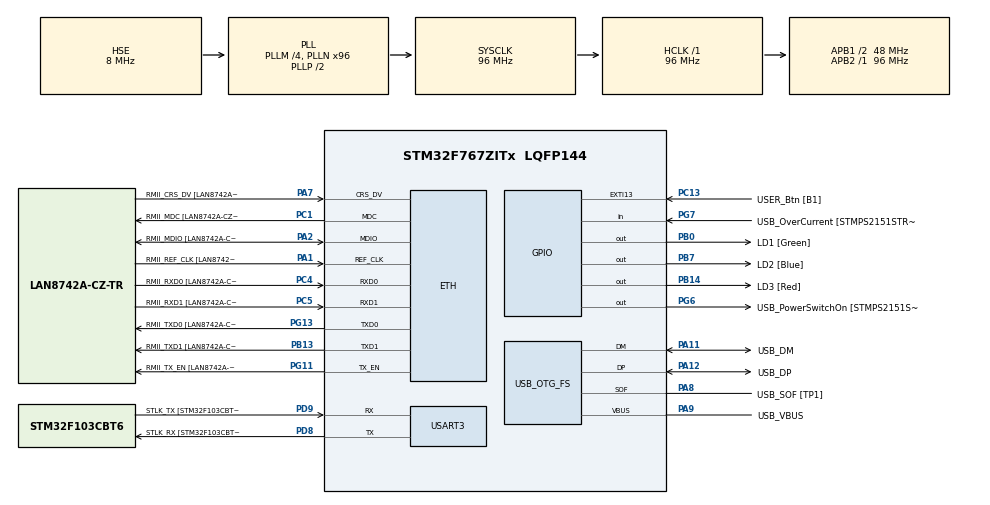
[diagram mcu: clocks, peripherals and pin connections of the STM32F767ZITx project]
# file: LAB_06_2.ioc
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ETH.MediaInterface=HAL_ETH_RMII_MODE
ETH.PHY_Name=LAN8742A_PHY_ADDRESS
ETH.PHY_Value=0
ETH.PhyAddress=0
Mcu.Family=STM32F7
Mcu.Name=STM32F767ZITx
Mcu.Package=LQFP144
NVIC.PriorityGroup=NVIC_PRIORITYGROUP_4
PA1.GPIO_Label=RMII_REF_CLK [LAN8742A-CZ-TR_REFCLK0]
PA1.Mode=RMII
PA1.Signal=ETH_REF_CLK
PA10.GPIO_Label=USB_ID
PA10.Signal=USB_OTG_FS_ID
PA11.GPIO_Label=USB_DM
PA11.Mode=Device_Only
PA11.Signal=USB_OTG_FS_DM
PA12.GPIO_Label=USB_DP
PA12.Mode=Device_Only
PA12.Signal=USB_OTG_FS_DP
PA13.GPIO_Label=TMS
PA13.Mode=Serial_Wire
PA13.Signal=SYS_JTMS-SWDIO
PA14.GPIO_Label=TCK
PA14.Mode=Serial_Wire
PA14.Signal=SYS_JTCK-SWCLK
PA2.GPIO_Label=RMII_MDIO [LAN8742A-CZ-TR_MDIO]
PA2.Mode=RMII
PA2.Signal=ETH_MDIO
PA7.GPIO_Label=RMII_CRS_DV [LAN8742A-CZ-TR_CRS_DV]
PA7.Mode=RMII
PA7.Signal=ETH_CRS_DV
PA8.GPIO_Label=USB_SOF [TP1]
PA8.Mode=Activate_SOF_FS
PA8.Signal=USB_OTG_FS_SOF
PA9.GPIO_Label=USB_VBUS
PA9.Mode=Activate_VBUS
PA9.Signal=USB_OTG_FS_VBUS
PB0.GPIO_Label=LD1 [Green]
PB0.Signal=GPIO_Output
PB13.GPIO_Label=RMII_TXD1 [LAN8742A-CZ-TR_TXD1]
PB13.Mode=RMII
PB13.Signal=ETH_TXD1
PB14.GPIO_Label=LD3 [Red]
PB14.Signal=GPIO_Output
PB3.GPIO_Label=SWO
PB3.Signal=SYS_JTDO-SWO
PB7.GPIO_Label=LD2 [Blue]
PB7.Signal=GPIO_Output
PC1.GPIO_Label=RMII_MDC [LAN8742A-CZ-TR_MDC]
PC1.Mode=RMII
PC1.Signal=ETH_MDC
PC13.GPIO_Label=USER_Btn [B1]
PC13.Signal=GPXTI13
PC14/OSC32_IN.Mode=LSE-External-Oscillator
PC14/OSC32_IN.Signal=RCC_OSC32_IN
PC15/OSC32_OUT.Mode=LSE-External-Oscillator
PC15/OSC32_OUT.Signal=RCC_OSC32_OUT
PC4.GPIO_Label=RMII_RXD0 [LAN8742A-CZ-TR_RXD0]
PC4.Mode=RMII
PC4.Signal=ETH_RXD0
PC5.GPIO_Label=RMII_RXD1 [LAN8742A-CZ-TR_RXD1]
PC5.Mode=RMII
PC5.Signal=ETH_RXD1
PD8.GPIO_Label=STLK_RX [STM32F103CBT6_PA3]
PD8.Mode=Asynchronous
PD8.Signal=USART3_TX
PD9.GPIO_Label=STLK_TX [STM32F103CBT6_PA2]
PD9.Mode=Asynchronous
PD9.Signal=USART3_RX
PG11.GPIO_Label=RMII_TX_EN [LAN8742A-CZ-TR_TXEN]
PG11.Mode=RMII
PG11.Signal=ETH_TX_EN
PG13.GPIO_Label=RMII_TXD0 [LAN8742A-CZ-TR_TXD0]
PG13.Mode=RMII
PG13.Signal=ETH_TXD0
PG6.GPIO_Label=USB_PowerSwitchOn [STMPS2151STR_EN]
PG6.Signal=GPIO_Output
PG7.GPIO_Label=USB_OverCurrent [STMPS2151STR_FAULT]
PG7.Signal=GPIO_Input
PH0/OSC_IN.GPIO_Label=MCO [STM32F103CBT6_PA8]
PH0/OSC_IN.Mode=HSE-External-Clock-Source
PH0/OSC_IN.Signal=RCC_OSC_IN
PH1/OSC_OUT.Mode=HSE-External-Clock-Source
PH1/OSC_OUT.Signal=RCC_OSC_OUT
ProjectManager.HeapSize=0x200
ProjectManager.StackSize=0x400
ProjectManager.TargetToolchain=STM32CubeIDE
RCC.48MHZClocksFreq_Value=24000000
RCC.AHBFreq_Value=96000000
RCC.APB1CLKDivider=RCC_HCLK_DIV2
RCC.APB1Freq_Value=48000000
RCC.APB1TimFreq_Value=96000000
RCC.APB2Freq_Value=96000000
RCC.APB2TimFreq_Value=96000000
RCC.CortexFreq_Value=96000000
RCC.HCLKFreq_Value=96000000
RCC.HSE_VALUE=8000000
RCC.HSI_VALUE=16000000
RCC.PLLM=4
RCC.PLLMUL=RCC_PLL_MUL9
RCC.PLLN=96
RCC.PLLQ=4
RCC.PRESCALERUSB=RCC_USBCLKSOURCE_PLL_DIV1_5
RCC.SYSCLKFreq_VALUE=96000000
RCC.SYSCLKSource=RCC_SYSCLKSOURCE_PLLCLK
RCC.SYSCLKSourceVirtual=RCC_SYSCLKSOURCE_PLLCLK
RCC.USBFreq_Value=48000000
RCC.VCOOutputFreq_Value=192000000
USART3.VirtualMode-Asynchronous=VM_ASYNC
USB_OTG_FS.VirtualMode=Device_Only
board=NUCLEO-F767ZI

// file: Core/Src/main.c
/* USER CODE BEGIN Header */
/**
 ******************************************************************************
 * @file           : main.c
 * @brief          : Main program body
 ******************************************************************************
 * @attention
 *
 * Copyright (c) 2025 STMicroelectronics.
 * All rights reserved.
 *
 * This software is licensed under terms that can be found in the LICENSE file
 * in the root directory of this software component.
 * If no LICENSE file comes with this software, it is provided AS-IS.
 *
 ******************************************************************************
 */
/* USER CODE END Header */
#include "main.h"
#include "string.h"

/* USER CODE BEGIN Includes */

#include <stdio.h>
#include <stdbool.h>

/* USER CODE END Includes */

#if defined ( __ICCARM__ ) /*!< IAR Compiler */
#pragma location=0x2007c000
ETH_DMADescTypeDef  DMARxDscrTab[ETH_RX_DESC_CNT]; /* Ethernet Rx DMA Descriptors */
#pragma location=0x2007c0a0
ETH_DMADescTypeDef  DMATxDscrTab[ETH_TX_DESC_CNT]; /* Ethernet Tx DMA Descriptors */

#elif defined ( __CC_ARM )  /* MDK ARM Compiler */

__attribute__((at(0x2007c000))) ETH_DMADescTypeDef  DMARxDscrTab[ETH_RX_DESC_CNT]; /* Ethernet Rx DMA Descriptors */
__attribute__((at(0x2007c0a0))) ETH_DMADescTypeDef  DMATxDscrTab[ETH_TX_DESC_CNT]; /* Ethernet Tx DMA Descriptors */

#elif defined ( __GNUC__ ) /* GNU Compiler */

ETH_DMADescTypeDef DMARxDscrTab[ETH_RX_DESC_CNT] __attribute__((section(".RxDecripSection"))); /* Ethernet Rx DMA Descriptors */
ETH_DMADescTypeDef DMATxDscrTab[ETH_TX_DESC_CNT] __attribute__((section(".TxDecripSection"))); /* Ethernet Tx DMA Descriptors */
#endif

ETH_TxPacketConfig TxConfig;

ETH_HandleTypeDef heth;

UART_HandleTypeDef huart3;

PCD_HandleTypeDef hpcd_USB_OTG_FS;

void SystemClock_Config(void);
static void MX_GPIO_Init(void);
static void MX_ETH_Init(void);
static void MX_USART3_UART_Init(void);
static void MX_USB_OTG_FS_PCD_Init(void);

/* USER CODE BEGIN 0 */

#define BMP2_SPI_BUFFER_LEN 28
#define BMP2_DATA_INDEX 1
#define BMP2_REG_ADDR_INDEX 0
#define BMP2_REG_ADDR_LEN 1

#define BMP2_TIMEOUT 100
#define BMP2_NUM_OF_SENSORS 1

/* wskaznik SPI */
#define BMP2_SPI (&hspi4)

GPIO_TypeDef *BMP2_CS_Ports[BMP2_NUM_OF_SENSORS] = { GPIOE };
uint16_t BMP2_CS_Pins[BMP2_NUM_OF_SENSORS] = { GPIO_PIN_4 };

extern SPI_HandleTypeDef hspi4;
extern UART_HandleTypeDef huart3;

/* ----------------- BMP280 ADRESY REJESTRÓW ----------------- */
#define BMP280_ADDR_ID         0xD0
#define BMP280_ADDR_RESET      0xE0
#define BMP280_ADDR_STATUS     0xF3
#define BMP280_ADDR_CTRL_MEAS  0xF4
#define BMP280_ADDR_CONFIG     0xF5

#define BMP280_RESET_VALUE     0xB6
#define BMP280_ID_VALUE        0x58

/* temperatury */
#define BMP280_ADDR_TEMP_MSB  0xFA
#define BMP280_ADDR_TEMP_LSB  0xFB
#define BMP280_ADDR_TEMP_XLSB 0xFC

/* cisnienie */
#define BMP280_ADDR_PRESS_MSB  0xF7
#define BMP280_ADDR_PRESS_LSB  0xF8
#define BMP280_ADDR_PRESS_XLSB 0xF9

uint16_t dig_T1;
int16_t dig_T2, dig_T3;

uint16_t dig_P1;
int16_t dig_P2, dig_P3, dig_P4, dig_P5, dig_P6, dig_P7, dig_P8, dig_P9;

int32_t t_fine;

int8_t bmp2_spi_write(uint8_t reg_addr, const uint8_t *reg_data, uint32_t length, void *intf_ptr) {
	HAL_StatusTypeDef status = HAL_OK;
	int8_t iError = 0;
	uint8_t cs = *(uint8_t*) intf_ptr;

	/* CS LOW – wybór slave */
	HAL_GPIO_WritePin(BMP2_CS_Ports[cs], BMP2_CS_Pins[cs], GPIO_PIN_RESET);

	/* zapis adresu rejestru */
	status = HAL_SPI_Transmit(BMP2_SPI, &reg_addr, BMP2_REG_ADDR_LEN, BMP2_TIMEOUT);
	/* zapis danych */
	status |= HAL_SPI_Transmit(BMP2_SPI, (uint8_t*) reg_data, length, BMP2_TIMEOUT);

	/* CS HIGH – koniec transmisji */
	HAL_GPIO_WritePin(BMP2_CS_Ports[cs], BMP2_CS_Pins[cs], GPIO_PIN_SET);

	if (status != HAL_OK)
		iError = -1;

	return iError;
}

int8_t bmp2_spi_read(uint8_t reg_addr, uint8_t *reg_data, uint32_t length, void *intf_ptr) {
	HAL_StatusTypeDef status = HAL_OK;
	int8_t iError = 0;
	uint8_t cs = *(uint8_t*) intf_ptr;

	/* adres rejestru OR | 0x80 dla odczytu */
	reg_addr |= 0x80;

	/* CS LOW */
	HAL_GPIO_WritePin(BMP2_CS_Ports[cs], BMP2_CS_Pins[cs], GPIO_PIN_RESET);

	/* wysyłamy adres rejestru */
	status = HAL_SPI_Transmit(BMP2_SPI, &reg_addr, BMP2_REG_ADDR_LEN, BMP2_TIMEOUT);
	/* odbieramy dane */
	status |= HAL_SPI_Receive(BMP2_SPI, reg_data, length, BMP2_TIMEOUT);

	/* CS HIGH */
	HAL_GPIO_WritePin(BMP2_CS_Ports[cs], BMP2_CS_Pins[cs], GPIO_PIN_SET);

	if (status != HAL_OK)
		iError = -1;

	return iError;
}

uint8_t sensor_index = 0;  // jeden sensor

void BMP_Write(uint8_t reg, uint8_t val) {
	bmp2_spi_write(reg, &val, 1, &sensor_index);
}

void BMP_Read(uint8_t reg, uint8_t *buf, uint8_t len) {
	bmp2_spi_read(reg, buf, len, &sensor_index);
}

_Bool BMP280_IsDetected() {
	uint8_t id = 0;
	BMP_Read(BMP280_ADDR_ID, &id, 1);
	return id == BMP280_ID_VALUE;
}

void BMP280_ReadCalibration() {
	uint8_t calib[24];
	BMP_Read(0x88, calib, 24);

	dig_T1 = (uint16_t) (calib[1] << 8 | calib[0]);
	dig_T2 = (int16_t) (calib[3] << 8 | calib[2]);
	dig_T3 = (int16_t) (calib[5] << 8 | calib[4]);

	dig_P1 = (uint16_t) (calib[7] << 8 | calib[6]);
	dig_P2 = (int16_t) (calib[9] << 8 | calib[8]);
	dig_P3 = (int16_t) (calib[11] << 8 | calib[10]);
	dig_P4 = (int16_t) (calib[13] << 8 | calib[12]);
	dig_P5 = (int16_t) (calib[15] << 8 | calib[14]);
	dig_P6 = (int16_t) (calib[17] << 8 | calib[16]);
	dig_P7 = (int16_t) (calib[19] << 8 | calib[18]);
	dig_P8 = (int16_t) (calib[21] << 8 | calib[20]);
	dig_P9 = (int16_t) (calib[23] << 8 | calib[22]);
}

void BMP280_Init() {
	if (!BMP280_IsDetected()) {
		char msg[] = "Czujnik niewykryty!\r\n";
		HAL_UART_Transmit(&huart3, (uint8_t*) msg, strlen(msg), 100);
		return;
	}

	BMP_Write(BMP280_ADDR_RESET, BMP280_RESET_VALUE);
	HAL_Delay(10);

	BMP_Write(BMP280_ADDR_CONFIG, 0x00);        // filtry OFF
	BMP_Write(BMP280_ADDR_CTRL_MEAS, 0x27);     // oversampling x1 + normal mode
}

/* odczyt raw temperatury */
int32_t BMP280_ReadRawTemperature() {
	uint8_t d[3];
	BMP_Read(BMP280_ADDR_TEMP_MSB, d, 3);
	return ((int32_t) d[0] << 12) | ((int32_t) d[1] << 4) | (d[2] >> 4);
}

/* odczyt raw cisnienia */
int32_t BMP280_ReadRawPressure() {
	uint8_t d[3];
	BMP_Read(BMP280_ADDR_PRESS_MSB, d, 3);
	return ((int32_t) d[0] << 12) | ((int32_t) d[1] << 4) | (d[2] >> 4);
}

/* przeliczanie temperatury */
float BMP280_CalcTemperature(int32_t adc_T) {
	int32_t var1, var2;
	var1 = ((((adc_T >> 3) - ((int32_t) dig_T1 << 1))) * dig_T2) >> 11;
	var2 = (((((adc_T >> 4) - dig_T1) * ((adc_T >> 4) - dig_T1)) >> 12) * dig_T3) >> 14;
	t_fine = var1 + var2;
	return ((t_fine * 5 + 128) >> 8) / 100.0f;
}

/* przeliczanie cisnienia */
int32_t BMP280_CalcPressure(int32_t adc_P) {
	int64_t var1, var2, p;

	var1 = ((int64_t) t_fine) - 128000;
	var2 = var1 * var1 * (int64_t) dig_P6;
	var2 += (var1 * dig_P5) << 17;
	var2 += ((int64_t) dig_P4) << 35;

	var1 = (var1 * var1 * dig_P3) >> 8;
	var1 += (var1 * dig_P2) << 12;
	var1 = (((((int64_t) 1) << 47) + var1) * dig_P1) >> 33;

	if (var1 == 0)
		return 0;

	p = 1048576 - adc_P;
	p = (((p << 31) - var2) * 3125) / var1;

	var1 = ((int64_t) dig_P9 * (p >> 13) * (p >> 13)) >> 25;
	var2 = ((int64_t) dig_P8 * p) >> 19;

	p = ((p + var1 + var2) >> 8) + ((int64_t) dig_P7 << 4);

	return (int32_t) p;
}

void SetPWM(TIM_HandleTypeDef *htim, uint32_t channel, float duty) {
	if (duty < 0)
		duty = 0;
	if (duty > 100)
		duty = 100;

	uint32_t ARR = __HAL_TIM_GET_AUTORELOAD(htim);
	uint32_t cmp = (uint32_t) ((duty / 100.0f) * (ARR + 1));
	__HAL_TIM_SET_COMPARE(htim, channel, cmp);
}

extern TIM_HandleTypeDef htim2;
extern TIM_HandleTypeDef htim3;

void HAL_TIM_PeriodElapsedCallback(TIM_HandleTypeDef *htim) {
	/* 1 Hz – temp/CSV/UART */
	if (htim->Instance == TIM2) {
		int32_t rt = BMP280_ReadRawTemperature();
		float tempC = BMP280_CalcTemperature(rt);

		char buf[64];
		sprintf(buf, "TEMP=%.2f C\r\n", tempC);
		HAL_UART_Transmit(&huart3, (uint8_t*) buf, strlen(buf), 10);
	}

	/* 4 Hz – temp + pressure */
	if (htim->Instance == TIM3) {
		int32_t rt = BMP280_ReadRawTemperature();
		int32_t rp = BMP280_ReadRawPressure();

		int32_t temp100 = (int32_t) (BMP280_CalcTemperature(rt) * 100);
		int32_t press = BMP280_CalcPressure(rp);

		char buf[80];
		sprintf(buf, "T=%ld cC  P=%ld Pa\r\n", temp100, press);
		HAL_UART_Transmit(&huart3, (uint8_t*) buf, strlen(buf), 10);
	}
}

/* ------------------- UART RX = sterowanie PWM ------------------- */
uint8_t rxBuf[4];

void HAL_UART_RxCpltCallback(UART_HandleTypeDef *huart) {
	int pwm = atoi((char*) rxBuf);
	SetPWM(&htim4, TIM_CHANNEL_1, pwm);

	HAL_UART_Receive_IT(&huart3, rxBuf, 4);
}

/* USER CODE END 0 */

int main(void) {

	/* MCU Configuration--------------------------------------------------------*/

	/* Reset of all peripherals, Initializes the Flash interface and the Systick. */
	HAL_Init();

	/* Configure the system clock */
	SystemClock_Config();

	/* Initialize all configured peripherals */
	MX_GPIO_Init();
	MX_ETH_Init();
	MX_USART3_UART_Init();
	MX_USB_OTG_FS_PCD_Init();
	/* USER CODE BEGIN 2 */

	/* inicjalizacja sensora */
	BMP280_Init();
	BMP280_ReadCalibration();

	/* start timerów */
	HAL_TIM_Base_Start_IT(&htim2);
	HAL_TIM_Base_Start_IT(&htim3);

	/* PWM */
	HAL_TIM_PWM_Start(&htim4, TIM_CHANNEL_1);
	SetPWM(&htim4, TIM_CHANNEL_1, 0);

	/* UART RX */
	HAL_UART_Receive_IT(&huart3, rxBuf, 4);

	/* USER CODE END 2 */

	/* Infinite loop */
	/* USER CODE BEGIN WHILE */
	while (1) {

		HAL_Delay(10);
		/* USER CODE END WHILE */

	}
}

void SystemClock_Config(void) {
	RCC_OscInitTypeDef RCC_OscInitStruct = { 0 };
	RCC_ClkInitTypeDef RCC_ClkInitStruct = { 0 };

	/** Configure LSE Drive Capability
	 */
	HAL_PWR_EnableBkUpAccess();

	/** Configure the main internal regulator output voltage
	 */
	__HAL_RCC_PWR_CLK_ENABLE();
	__HAL_PWR_VOLTAGESCALING_CONFIG(PWR_REGULATOR_VOLTAGE_SCALE3);

	/** Initializes the RCC Oscillators according to the specified parameters
	 * in the RCC_OscInitTypeDef structure.
	 */
	RCC_OscInitStruct.OscillatorType = RCC_OSCILLATORTYPE_HSE;
	RCC_OscInitStruct.HSEState = RCC_HSE_BYPASS;
	RCC_OscInitStruct.PLL.PLLState = RCC_PLL_ON;
	RCC_OscInitStruct.PLL.PLLSource = RCC_PLLSOURCE_HSE;
	RCC_OscInitStruct.PLL.PLLM = 4;
	RCC_OscInitStruct.PLL.PLLN = 96;
	RCC_OscInitStruct.PLL.PLLP = RCC_PLLP_DIV2;
	RCC_OscInitStruct.PLL.PLLQ = 4;
	RCC_OscInitStruct.PLL.PLLR = 2;
	if (HAL_RCC_OscConfig(&RCC_OscInitStruct) != HAL_OK) {
		Error_Handler();
	}

	/** Activate the Over-Drive mode
	 */
	if (HAL_PWREx_EnableOverDrive() != HAL_OK) {
		Error_Handler();
	}

	/** Initializes the CPU, AHB and APB buses clocks
	 */
	RCC_ClkInitStruct.ClockType = RCC_CLOCKTYPE_HCLK | RCC_CLOCKTYPE_SYSCLK | RCC_CLOCKTYPE_PCLK1 | RCC_CLOCKTYPE_PCLK2;
	RCC_ClkInitStruct.SYSCLKSource = RCC_SYSCLKSOURCE_PLLCLK;
	RCC_ClkInitStruct.AHBCLKDivider = RCC_SYSCLK_DIV1;
	RCC_ClkInitStruct.APB1CLKDivider = RCC_HCLK_DIV2;
	RCC_ClkInitStruct.APB2CLKDivider = RCC_HCLK_DIV1;

	if (HAL_RCC_ClockConfig(&RCC_ClkInitStruct, FLASH_LATENCY_3) != HAL_OK) {
		Error_Handler();
	}
}

static void MX_ETH_Init(void) {

	static uint8_t MACAddr[6];

	heth.Instance = ETH;
	MACAddr[0] = 0x00;
	MACAddr[1] = 0x80;
	MACAddr[2] = 0xE1;
	MACAddr[3] = 0x00;
	MACAddr[4] = 0x00;
	MACAddr[5] = 0x00;
	heth.Init.MACAddr = &MACAddr[0];
	heth.Init.MediaInterface = HAL_ETH_RMII_MODE;
	heth.Init.TxDesc = DMATxDscrTab;
	heth.Init.RxDesc = DMARxDscrTab;
	heth.Init.RxBuffLen = 1524;

	if (HAL_ETH_Init(&heth) != HAL_OK) {
		Error_Handler();
	}

	memset(&TxConfig, 0, sizeof(ETH_TxPacketConfig));
	TxConfig.Attributes = ETH_TX_PACKETS_FEATURES_CSUM | ETH_TX_PACKETS_FEATURES_CRCPAD;
	TxConfig.ChecksumCtrl = ETH_CHECKSUM_IPHDR_PAYLOAD_INSERT_PHDR_CALC;
	TxConfig.CRCPadCtrl = ETH_CRC_PAD_INSERT;

}

static void MX_USART3_UART_Init(void) {

	huart3.Instance = USART3;
	huart3.Init.BaudRate = 115200;
	huart3.Init.WordLength = UART_WORDLENGTH_8B;
	huart3.Init.StopBits = UART_STOPBITS_1;
	huart3.Init.Parity = UART_PARITY_NONE;
	huart3.Init.Mode = UART_MODE_TX_RX;
	huart3.Init.HwFlowCtl = UART_HWCONTROL_NONE;
	huart3.Init.OverSampling = UART_OVERSAMPLING_16;
	huart3.Init.OneBitSampling = UART_ONE_BIT_SAMPLE_DISABLE;
	huart3.AdvancedInit.AdvFeatureInit = UART_ADVFEATURE_NO_INIT;
	if (HAL_UART_Init(&huart3) != HAL_OK) {
		Error_Handler();
	}

}

static void MX_USB_OTG_FS_PCD_Init(void) {

	hpcd_USB_OTG_FS.Instance = USB_OTG_FS;
	hpcd_USB_OTG_FS.Init.dev_endpoints = 6;
	hpcd_USB_OTG_FS.Init.speed = PCD_SPEED_FULL;
	hpcd_USB_OTG_FS.Init.dma_enable = DISABLE;
	hpcd_USB_OTG_FS.Init.phy_itface = PCD_PHY_EMBEDDED;
	hpcd_USB_OTG_FS.Init.Sof_enable = ENABLE;
	hpcd_USB_OTG_FS.Init.low_power_enable = DISABLE;
	hpcd_USB_OTG_FS.Init.lpm_enable = DISABLE;
	hpcd_USB_OTG_FS.Init.vbus_sensing_enable = ENABLE;
	hpcd_USB_OTG_FS.Init.use_dedicated_ep1 = DISABLE;
	if (HAL_PCD_Init(&hpcd_USB_OTG_FS) != HAL_OK) {
		Error_Handler();
	}

}

static void MX_GPIO_Init(void) {
	GPIO_InitTypeDef GPIO_InitStruct = { 0 };

	/* GPIO Ports Clock Enable */
	__HAL_RCC_GPIOC_CLK_ENABLE();
	__HAL_RCC_GPIOH_CLK_ENABLE();
	__HAL_RCC_GPIOA_CLK_ENABLE();
	__HAL_RCC_GPIOB_CLK_ENABLE();
	__HAL_RCC_GPIOD_CLK_ENABLE();
	__HAL_RCC_GPIOG_CLK_ENABLE();

	/*Configure GPIO pin Output Level */
	HAL_GPIO_WritePin(GPIOB, LD1_Pin | LD3_Pin | LD2_Pin, GPIO_PIN_RESET);

	/*Configure GPIO pin Output Level */
	HAL_GPIO_WritePin(USB_PowerSwitchOn_GPIO_Port, USB_PowerSwitchOn_Pin, GPIO_PIN_RESET);

	/*Configure GPIO pin : USER_Btn_Pin */
	GPIO_InitStruct.Pin = USER_Btn_Pin;
	GPIO_InitStruct.Mode = GPIO_MODE_IT_RISING;
	GPIO_InitStruct.Pull = GPIO_NOPULL;
	HAL_GPIO_Init(USER_Btn_GPIO_Port, &GPIO_InitStruct);

	/*Configure GPIO pins : LD1_Pin LD3_Pin LD2_Pin */
	GPIO_InitStruct.Pin = LD1_Pin | LD3_Pin | LD2_Pin;
	GPIO_InitStruct.Mode = GPIO_MODE_OUTPUT_PP;
	GPIO_InitStruct.Pull = GPIO_NOPULL;
	GPIO_InitStruct.Speed = GPIO_SPEED_FREQ_LOW;
	HAL_GPIO_Init(GPIOB, &GPIO_InitStruct);

	/*Configure GPIO pin : USB_PowerSwitchOn_Pin */
	GPIO_InitStruct.Pin = USB_PowerSwitchOn_Pin;
	GPIO_InitStruct.Mode = GPIO_MODE_OUTPUT_PP;
	GPIO_InitStruct.Pull = GPIO_NOPULL;
	GPIO_InitStruct.Speed = GPIO_SPEED_FREQ_LOW;
	HAL_GPIO_Init(USB_PowerSwitchOn_GPIO_Port, &GPIO_InitStruct);

	/*Configure GPIO pin : USB_OverCurrent_Pin */
	GPIO_InitStruct.Pin = USB_OverCurrent_Pin;
	GPIO_InitStruct.Mode = GPIO_MODE_INPUT;
	GPIO_InitStruct.Pull = GPIO_NOPULL;
	HAL_GPIO_Init(USB_OverCurrent_GPIO_Port, &GPIO_InitStruct);

}

void Error_Handler(void) {
	__disable_irq();
	while (1) {
	}
}
